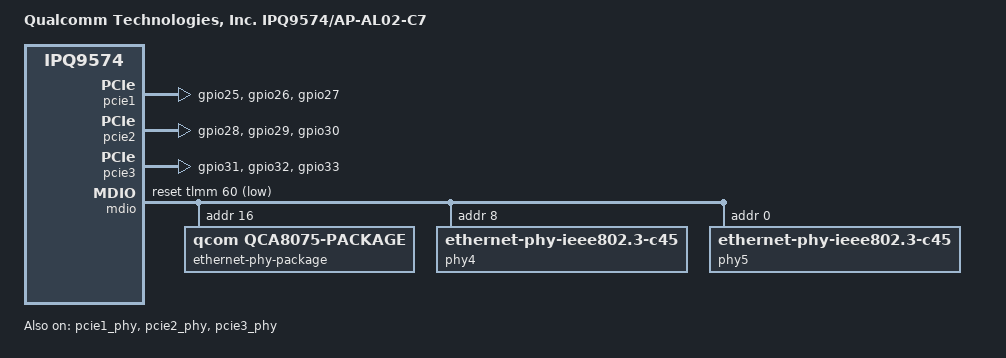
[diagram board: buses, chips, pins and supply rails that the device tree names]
// SPDX-License-Identifier: (GPL-2.0+ OR BSD-3-Clause)
/*
 * IPQ9574 RDP433 board device tree source
 *
 * Copyright (c) 2020-2021 The Linux Foundation. All rights reserved.
 * Copyright (c) 2023 Qualcomm Innovation Center, Inc. All rights reserved.
 */

/dts-v1/;

#include <dt-bindings/gpio/gpio.h>
#include "ipq9574-rdp-common.dtsi"

/ {
	model = "Qualcomm Technologies, Inc. IPQ9574/AP-AL02-C7";
	compatible = "qcom,ipq9574-ap-al02-c7", "qcom,ipq9574";
};

&pcie1_phy {
	status = "okay";
};

&pcie1 {
	pinctrl-0 = <&pcie1_default>;
	pinctrl-names = "default";

	perst-gpios = <&tlmm 26 GPIO_ACTIVE_LOW>;
	wake-gpios = <&tlmm 27 GPIO_ACTIVE_LOW>;
	status = "okay";
};

&pcie2_phy {
	status = "okay";
};

&pcie2 {
	pinctrl-0 = <&pcie2_default>;
	pinctrl-names = "default";

	perst-gpios = <&tlmm 29 GPIO_ACTIVE_LOW>;
	wake-gpios = <&tlmm 30 GPIO_ACTIVE_LOW>;
	status = "okay";
};

&pcie3_phy {
	status = "okay";
};

&pcie3 {
	pinctrl-0 = <&pcie3_default>;
	pinctrl-names = "default";

	perst-gpios = <&tlmm 32 GPIO_ACTIVE_LOW>;
	wake-gpios = <&tlmm 33 GPIO_ACTIVE_LOW>;
	status = "okay";
};

&mdio {
	reset-gpios = <&tlmm 60 GPIO_ACTIVE_LOW>;
	clock-frequency = <6250000>;
	status = "okay";

	ethernet-phy-package@0 {
		compatible = "qcom,qca8075-package";
		#address-cells = <1>;
		#size-cells = <0>;
		reg = <0x10>;
		qcom,package-mode = "qsgmii";

		phy0: ethernet-phy@10 {
			reg = <0x10>;
		};

		phy1: ethernet-phy@11 {
			reg = <0x11>;
		};

		phy2: ethernet-phy@12 {
			reg = <0x12>;
		};

		phy3: ethernet-phy@13 {
			reg = <0x13>;
		};
	};

	phy4: ethernet-phy@8 {
		compatible ="ethernet-phy-ieee802.3-c45";
		reg = <8>;

		nvmem-cells = <&aqr_fw>;
		nvmem-cell-names = "firmware";
	};

	phy5: ethernet-phy@0 {
		compatible ="ethernet-phy-ieee802.3-c45";
		reg = <0>;

		nvmem-cells = <&aqr_fw>;
		nvmem-cell-names = "firmware";
	};
};

&tlmm {

	pcie1_default: pcie1-default-state {
		clkreq-n-pins {
			pins = "gpio25";
			function = "pcie1_clk";
			drive-strength = <6>;
			bias-pull-up;
		};

		perst-n-pins {
			pins = "gpio26";
			function = "gpio";
			drive-strength = <8>;
			bias-pull-down;
			output-low;
		};

		wake-n-pins {
			pins = "gpio27";
			function = "pcie1_wake";
			drive-strength = <6>;
			bias-pull-up;
		};
	};

	pcie2_default: pcie2-default-state {
		clkreq-n-pins {
			pins = "gpio28";
			function = "pcie2_clk";
			drive-strength = <6>;
			bias-pull-up;
		};

		perst-n-pins {
			pins = "gpio29";
			function = "gpio";
			drive-strength = <8>;
			bias-pull-down;
			output-low;
		};

		wake-n-pins {
			pins = "gpio30";
			function = "pcie2_wake";
			drive-strength = <6>;
			bias-pull-up;
		};
	};

	pcie3_default: pcie3-default-state {
		clkreq-n-pins {
			pins = "gpio31";
			function = "pcie3_clk";
			drive-strength = <6>;
			bias-pull-up;
		};

		perst-n-pins {
			pins = "gpio32";
			function = "gpio";
			drive-strength = <8>;
			bias-pull-up;
			output-low;
		};

		wake-n-pins {
			pins = "gpio33";
			function = "pcie3_wake";
			drive-strength = <6>;
			bias-pull-up;
		};
	};

	sdc_default_state: sdc-default-state {
		clk-pins {
			pins = "gpio5";
			function = "sdc_clk";
			drive-strength = <8>;
			bias-disable;
		};

		cmd-pins {
			pins = "gpio4";
			function = "sdc_cmd";
			drive-strength = <8>;
			bias-pull-up;
		};

		data-pins {
			pins = "gpio0", "gpio1", "gpio2",
			       "gpio3", "gpio6", "gpio7",
			       "gpio8", "gpio9";
			function = "sdc_data";
			drive-strength = <8>;
			bias-pull-up;
		};

		rclk-pins {
			pins = "gpio10";
			function = "sdc_rclk";
			drive-strength = <8>;
			bias-pull-down;
		};
	};
};

&qcom_ppe {
	ethernet-ports {
		#address-cells = <1>;
		#size-cells = <0>;

		port@1 {
			reg = <1>;
			phy-mode = "qsgmii";
			managed = "in-band-status";
			label = "lan1";
			phy-handle = <&phy0>;
			pcs-handle = <&pcs0_ch0>;
			clocks = <&nsscc NSS_CC_PORT1_MAC_CLK>,
				 <&nsscc NSS_CC_PORT1_RX_CLK>,
				 <&nsscc NSS_CC_PORT1_TX_CLK>;
			clock-names = "port_mac",
				      "port_rx",
				      "port_tx";
			resets = <&nsscc PORT1_MAC_ARES>,
				 <&nsscc PORT1_RX_ARES>,
				 <&nsscc PORT1_TX_ARES>;
			reset-names = "port_mac",
				      "port_rx",
				      "port_tx";
		};

		port@2 {
			reg = <2>;
			phy-mode = "qsgmii";
			managed = "in-band-status";
			label = "lan2";
			phy-handle = <&phy1>;
			pcs-handle = <&pcs0_ch1>;
			clocks = <&nsscc NSS_CC_PORT2_MAC_CLK>,
				 <&nsscc NSS_CC_PORT2_RX_CLK>,
				 <&nsscc NSS_CC_PORT2_TX_CLK>;
			clock-names = "port_mac",
				      "port_rx",
				      "port_tx";
			resets = <&nsscc PORT2_MAC_ARES>,
				 <&nsscc PORT2_RX_ARES>,
				 <&nsscc PORT2_TX_ARES>;
			reset-names = "port_mac",
				      "port_rx",
				      "port_tx";
		};

		port@3 {
			reg = <3>;
			phy-mode = "qsgmii";
			managed = "in-band-status";
			label = "lan3";
			phy-handle = <&phy2>;
			pcs-handle = <&pcs0_ch2>;
			clocks = <&nsscc NSS_CC_PORT3_MAC_CLK>,
				 <&nsscc NSS_CC_PORT3_RX_CLK>,
				 <&nsscc NSS_CC_PORT3_TX_CLK>;
			clock-names = "port_mac",
				      "port_rx",
				      "port_tx";
			resets = <&nsscc PORT3_MAC_ARES>,
				 <&nsscc PORT3_RX_ARES>,
				 <&nsscc PORT3_TX_ARES>;
			reset-names = "port_mac",
				      "port_rx",
				      "port_tx";
		};

		port@4 {
			reg = <4>;
			phy-mode = "qsgmii";
			managed = "in-band-status";
			label = "lan4";
			phy-handle = <&phy3>;
			pcs-handle = <&pcs0_ch3>;
			clocks = <&nsscc NSS_CC_PORT4_MAC_CLK>,
				 <&nsscc NSS_CC_PORT4_RX_CLK>,
				 <&nsscc NSS_CC_PORT4_TX_CLK>;
			clock-names = "port_mac",
				      "port_rx",
				      "port_tx";
			resets = <&nsscc PORT4_MAC_ARES>,
				 <&nsscc PORT4_RX_ARES>,
				 <&nsscc PORT4_TX_ARES>;
			reset-names = "port_mac",
				      "port_rx",
				      "port_tx";
		};

		port@5 {
			reg = <5>;
			phy-mode = "usxgmii";
			managed = "in-band-status";
			label = "lan5";
			phy-handle = <&phy4>;
			pcs-handle = <&pcs1_ch0>;
			clocks = <&nsscc NSS_CC_PORT5_MAC_CLK>,
				 <&nsscc NSS_CC_PORT5_RX_CLK>,
				 <&nsscc NSS_CC_PORT5_TX_CLK>;
			clock-names = "port_mac",
				      "port_rx",
				      "port_tx";
			resets = <&nsscc PORT5_MAC_ARES>,
				 <&nsscc PORT5_RX_ARES>,
				 <&nsscc PORT5_TX_ARES>;
			reset-names = "port_mac",
				      "port_rx",
				      "port_tx";
		};

		port@6 {
			reg = <6>;
			phy-mode = "usxgmii";
			managed = "in-band-status";
			label = "wan";
			phy-handle = <&phy5>;
			pcs-handle = <&pcs2_ch0>;
			clocks = <&nsscc NSS_CC_PORT6_MAC_CLK>,
				 <&nsscc NSS_CC_PORT6_RX_CLK>,
				 <&nsscc NSS_CC_PORT6_TX_CLK>;
			clock-names = "port_mac",
				      "port_rx",
				      "port_tx";
			resets = <&nsscc PORT6_MAC_ARES>,
				 <&nsscc PORT6_RX_ARES>,
				 <&nsscc PORT6_TX_ARES>;
			reset-names = "port_mac",
				      "port_rx",
				      "port_tx";
		};
	};
};
